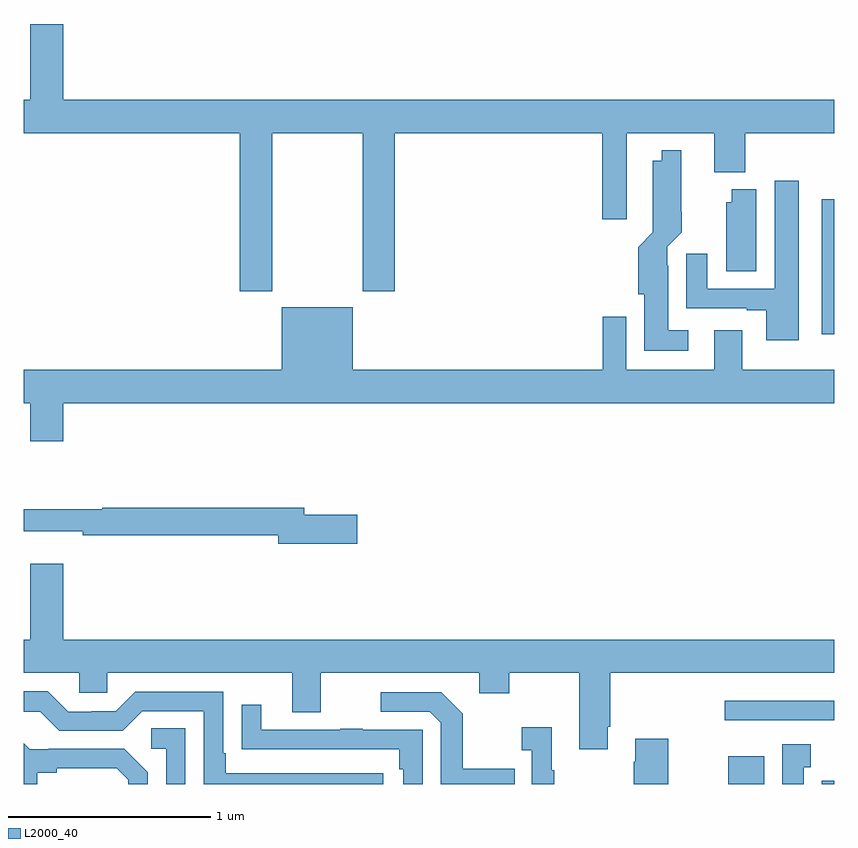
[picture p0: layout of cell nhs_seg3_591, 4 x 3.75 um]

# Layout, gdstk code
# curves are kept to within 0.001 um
import gdstk
lib = gdstk.Library(unit=1e-6, precision=1e-09)
def R(c, l, rs):  # rectangles x0, y0, x1, y1
    for r in rs: c.add(gdstk.rectangle(r[:2], r[2:], *l))
def P(c, l, *ps):  # polygons
    for p in ps: c.add(gdstk.Polygon(p, *l))
L2000_40 = (2000, 40)

nhs_seg3_591 = lib.new_cell('nhs_seg3_591')
R(nhs_seg3_591, L2000_40, [(144.476,668.4,144.655,668.536), (144.938,668.4,145,668.416), (144.459,668.715,145,668.812), (144.938,670.62,145,671.287)])
P(nhs_seg3_591, L2000_40, [(141.196,672.151),(141.032,672.151),(141.032,671.776),(141,671.776),(141,671.612),(142.067,671.612),(142.067,670.833),(142.227,670.833),(142.227,671.612),(142.672,671.612),(142.672,670.833),(142.832,670.833),(142.832,671.612),(143.855,671.612),(143.855,671.187),(143.977,671.187),(143.977,671.612),(144.407,671.612),(144.407,671.42),(144.56,671.42),(144.56,671.612),(145,671.612),(145,671.776),(141.196,671.776)],
  [(144.28,670.639),(144.181,670.639),(144.181,670.958),(144.177,670.958),(144.177,671.052),(144.247,671.122),(144.246,671.527),(144.149,671.527),(144.149,671.476),(144.104,671.476),(144.104,671.122),(144.032,671.05),(144.032,670.818),(144.062,670.818),(144.062,670.538),(144.28,670.538)],
  [(144.826,671.377),(144.707,671.377),(144.707,670.845),(144.373,670.845),(144.373,671.017),(144.269,671.017),(144.269,670.749),(144.569,670.749),(144.569,670.737),(144.665,670.737),(144.665,670.59),(144.826,670.59)],
  [(144.616,671.335),(144.494,671.335),(144.494,671.271),(144.467,671.271),(144.467,670.93),(144.616,670.93)],
  [(141.196,670.28),(145,670.28),(145,670.444),(144.547,670.444),(144.547,670.639),(144.407,670.639),(144.407,670.444),(143.973,670.444),(143.973,670.705),(143.857,670.705),(143.857,670.444),(142.624,670.444),(142.624,670.753),(142.274,670.753),(142.274,670.444),(141,670.444),(141,670.28),(141.032,670.28),(141.032,670.092),(141.196,670.092)],
  [(142.645,669.728),(142.384,669.728),(142.384,669.764),(141.387,669.764),(141.387,669.757),(141,669.757),(141,669.647),(141.292,669.647),(141.292,669.628),(142.256,669.628),(142.256,669.586),(142.645,669.586)],
  [(143.881,668.683),(143.894,668.683),(143.894,668.948),(145,668.948),(145,669.112),(141.196,669.112),(141.196,669.487),(141.032,669.487),(141.032,669.112),(141,669.112),(141,668.948),(141.273,668.948),(141.273,668.85),(141.411,668.85),(141.411,668.948),(142.325,668.948),(142.325,668.754),(142.465,668.754),(142.465,668.948),(143.249,668.948),(143.249,668.849),(143.397,668.849),(143.397,668.948),(143.741,668.948),(143.741,668.571),(143.881,668.571)],
  [(142.774,668.454),(141.997,668.454),(141.997,668.551),(141.984,668.551),(141.984,668.856),(141.549,668.856),(141.453,668.76),(141.335,668.76),(141.335,668.757),(141.219,668.757),(141.119,668.857),(141,668.857),(141,668.757),(141.081,668.757),(141.174,668.664),(141.489,668.664),(141.585,668.76),(141.888,668.76),(141.888,668.4),(142.774,668.4)],
  [(143.423,668.475),(143.167,668.475),(143.167,668.747),(143.061,668.853),(142.761,668.853),(142.761,668.757),(143.004,668.757),(143.058,668.703),(143.058,668.4),(143.423,668.4)],
  [(142.968,668.667),(142.673,668.667),(142.673,668.672),(142.561,668.672),(142.561,668.667),(142.171,668.667),(142.171,668.791),(142.075,668.791),(142.075,668.572),(142.177,668.572),(142.177,668.571),(142.852,668.571),(142.852,668.474),(142.872,668.474),(142.872,668.4),(142.968,668.4)],
  [(143.617,668.467),(143.605,668.467),(143.605,668.68),(143.457,668.68),(143.457,668.567),(143.508,668.567),(143.508,668.4),(143.617,668.4)],
  [(141.798,668.675),(141.63,668.675),(141.63,668.574),(141.702,668.574),(141.702,668.4),(141.798,668.4)],
  [(144.18,668.623),(144.017,668.623),(144.017,668.51),(144.01,668.51),(144.01,668.4),(144.18,668.4)],
  [(141.067,668.456),(141.163,668.456),(141.163,668.478),(141.458,668.478),(141.515,668.421),(141.515,668.4),(141.612,668.4),(141.612,668.458),(141.496,668.574),(141.124,668.574),(141.124,668.571),(141.03,668.571),(141,668.601),(141,668.4),(141.067,668.4)],
  [(144.85,668.483),(144.883,668.483),(144.883,668.596),(144.743,668.596),(144.743,668.4),(144.85,668.4)])

lib.write_gds('nhs_seg3_591.gds')
